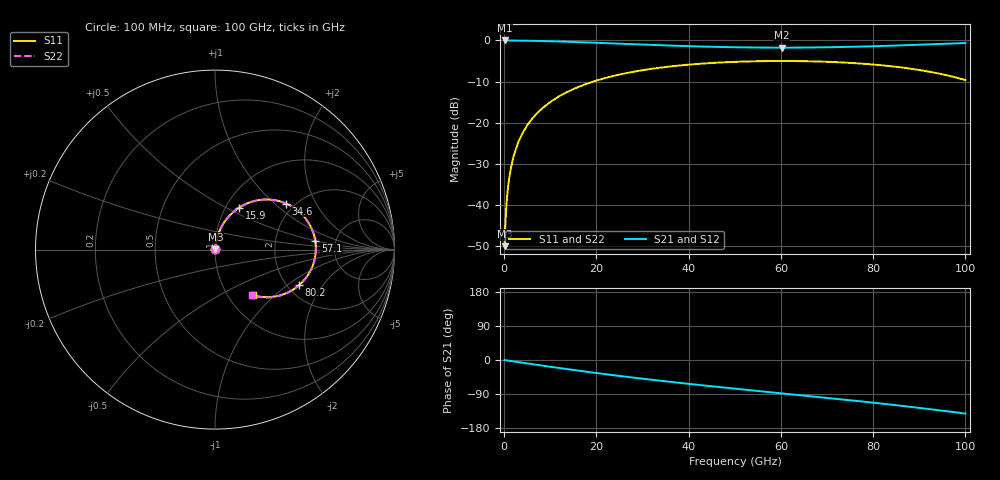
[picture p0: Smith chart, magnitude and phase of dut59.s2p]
! Touchstone file exported from HFSS 2026.1.0
!  File:  C:/ffzhzh/LocalFiles/Ansys_Project_Files/temp_train_RDL_59_1783498441_9504.aedt
!  Generated:  04:15:19 PM Jul  8, 2026
!  Design:  RDL
!  Project:  temp_train_RDL_59_1783498441_9504
! Variables:
!  h_bsmrdl = 2um
!  h_ox = 20um
!  h_rdl = 5um
!  h_sub = 80um
!  h_tmrdl = 4.47um
!  h_tsv = 80um
!  h_via = 3um
!  l_bsmrdl = 300um
!  l_sub = 893.13um
!  l_tmrdl = 493.13um
!  m_sub = 200um
!  pitch = 41.82um
!  r_tsv = 6um
!  s_tmrdl = 10um
!  w_bsmrdl = 18um
!  w_sub = 500um
!  w_tmrdl = 17.09um
!  x_tsv_center1 = 501.675um
!  x_tsv_center2 = 819.675um
!  x_tsv_center3 = 1329.895um
!  x_tsv_center4 = 1647.895um
!  x_tsv_center5 = 2158.115um
!  x_tsv_center6 = 2476.115um
# GHz S MA R 50.000000
! Terminal data exported
! Port[1] = TM_RDL1_1_T1
! Port[2] = TM_RDL1_1_T2
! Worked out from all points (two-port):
!   1000 points, 100 MHz to 100 GHz, reference 50 ohm
!   highest |S21| = -0.02 dB at 100 MHz (marker M1); lowest = -1.8 dB at 60.2 GHz (marker M2)
!   |S21| within 3 dB of the highest: start of sweep to end of sweep
!   lowest |S11| = -50.0 dB at 100 MHz (marker M3), VSWR 1.01, Z = 50.2 + j0.205 ohm
!   |S11| at or under -10 dB: start of sweep to 19.33 GHz
!   |S22| runs from -50.0 to -5.0 dB; largest |S21 - S12| = 1.6e-14
!   S11 on the Smith chart (normalised r, x): 100 MHz: 1.00, +0.00; 15.9 GHz: 1.15, +0.58; 34.6 GHz: 1.81, +1.19; 57.1 GHz: 3.48, +0.50; 80.2 GHz: 2.30, -1.23; 100 GHz: 1.30, -0.74
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0.1  0.003165 40.2  0.9976 -0.2  0.9976 -0.2  0.003165 40.2
! Gamma 0 0 0 0
! Port Impedance 50 0 50 0
0.8  0.01568 77.8  0.997 -1.5  0.997 -1.5  0.01568 77.8
1.1  0.02125 79.8  0.9968 -2.0  0.9968 -2.0  0.02126 79.8
1.4  0.02685 80.7  0.9965 -2.6  0.9965 -2.6  0.02685 80.7
2.4  0.04548 81.0  0.9954 -4.4  0.9954 -4.4  0.04548 81.0
3.8  0.0712 79.5  0.993 -7.0  0.993 -7.0  0.0712 79.5
5.8  0.1069 76.4  0.9886 -10.5  0.9886 -10.5  0.1069 76.4
8.5  0.1532 72.1  0.981 -15.3  0.981 -15.3  0.1532 72.1
11.8  0.2071 66.7  0.9698 -20.9  0.9698 -20.9  0.2071 66.7
15.9  0.269 60.2  0.9535 -27.8  0.9535 -27.8  0.2691 60.2
16.8  0.2818 58.8  0.9496 -29.2  0.9496 -29.2  0.2819 58.8
24.2  0.3755 47.5  0.9159 -40.8  0.9159 -40.8  0.3756 47.5
33.4  0.463 34.6  0.8749 -54.1  0.8749 -54.1  0.4631 34.5
34.6  0.4721 32.9  0.8701 -55.8  0.8701 -55.8  0.4722 32.9
50.1  0.5487 13.4  0.8247 -75.7  0.8247 -75.7  0.5488 13.3
57.1  0.5607 5.0  0.8168 -84.3  0.8168 -84.3  0.5609 4.9
60.2  0.562 1.3  0.816 -88.0  0.816 -88.0  0.5621 1.2
66.7  0.5565 -6.4  0.8195 -95.9  0.8195 -95.9  0.5567 -6.5
80.2  0.508 -23.0  0.849 -112.9  0.849 -112.9  0.5082 -23.2
83.4  0.4884 -27.2  0.8598 -117.1  0.8598 -117.1  0.4885 -27.4
92  0.4182 -38.8  0.8941 -129.2  0.8941 -129.2  0.4184 -39.2
100  0.3291 -50.3  0.9284 -141.5  0.9284 -141.5  0.3292 -50.9
